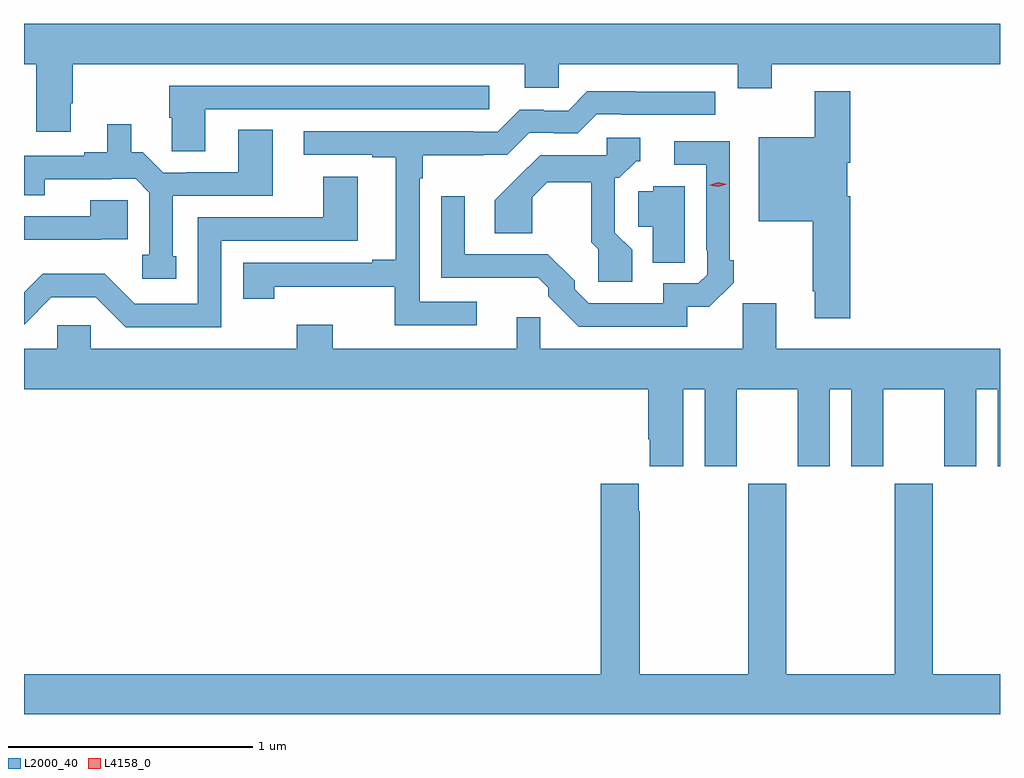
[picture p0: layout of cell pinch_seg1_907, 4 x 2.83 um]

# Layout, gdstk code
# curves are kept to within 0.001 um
import gdstk
lib = gdstk.Library(unit=1e-6, precision=1e-09)
def P(c, l, *ps):  # polygons
    for p in ps: c.add(gdstk.Polygon(p, *l))
L2000_40 = (2000, 40)
L4158_0 = (4158, 0)

pinch_seg1_907 = lib.new_cell('pinch_seg1_907')
P(pinch_seg1_907, L2000_40, [(231.565,527.596),(231.573,527.596),(231.573,527.756),(233.426,527.756),(233.426,527.658),(233.565,527.658),(233.565,527.756),(234.299,527.756),(234.299,527.657),(234.439,527.657),(234.439,527.756),(235.374,527.756),(235.374,527.92),(231.374,527.92),(231.374,527.756),(231.425,527.756),(231.425,527.478),(231.565,527.478)],
  [(232.117,527.571),(233.281,527.571),(233.281,527.667),(231.97,527.667),(231.97,527.535),(231.979,527.535),(231.979,527.398),(232.117,527.398)],
  [(234.761,527.215),(234.748,527.215),(234.748,527.351),(234.761,527.351),(234.761,527.644),(234.614,527.644),(234.614,527.455),(234.386,527.455),(234.386,527.111),(234.607,527.111),(234.607,526.825),(234.614,526.825),(234.614,526.713),(234.761,526.713)],
  [(233.23,526.782),(232.995,526.782),(232.995,527.288),(233.008,527.288),(233.008,527.382),(233.258,527.382),(233.258,527.385),(233.355,527.385),(233.445,527.475),(233.546,527.475),(233.546,527.472),(233.643,527.472),(233.721,527.55),(233.821,527.55),(233.821,527.547),(234.208,527.547),(234.208,527.643),(233.683,527.644),(233.604,527.565),(233.504,527.565),(233.504,527.568),(233.406,527.568),(233.316,527.478),(233.216,527.478),(233.216,527.481),(232.521,527.481),(232.521,527.385),(232.802,527.385),(232.802,527.373),(232.898,527.373),(232.898,526.954),(232.802,526.954),(232.802,526.941),(232.272,526.941),(232.272,526.794),(232.4,526.794),(232.4,526.844),(232.894,526.844),(232.894,526.686),(233.23,526.686)],
  [(231.997,526.968),(231.984,526.968),(231.984,527.217),(232.393,527.217),(232.393,527.486),(232.253,527.486),(232.253,527.313),(232.039,527.313),(232.039,527.31),(231.945,527.31),(231.861,527.394),(231.814,527.394),(231.814,527.509),(231.716,527.509),(231.716,527.394),(231.62,527.394),(231.62,527.379),(231.374,527.379),(231.374,527.218),(231.459,527.218),(231.459,527.283),(231.731,527.283),(231.731,527.286),(231.831,527.286),(231.888,527.229),(231.888,526.974),(231.858,526.974),(231.858,526.875),(231.997,526.875)],
  [(233.866,526.994),(233.796,527.064),(233.796,527.289),(233.814,527.289),(233.883,527.358),(233.899,527.358),(233.899,527.454),(233.763,527.454),(233.763,527.382),(233.489,527.382),(233.392,527.285),(233.391,527.286),(233.304,527.198),(233.304,527.062),(233.458,527.062),(233.458,527.21),(233.519,527.271),(233.698,527.271),(233.698,527.026),(233.727,526.997),(233.727,526.863),(233.866,526.863)],
  [(234.093,526.761),(234.182,526.761),(234.282,526.86),(234.282,526.951),(234.267,526.951),(234.267,527.439),(234.039,527.439),(234.039,527.343),(234.171,527.343),(234.171,526.993),(234.174,526.993),(234.174,526.893),(234.138,526.857),(233.994,526.857),(233.994,526.776),(233.688,526.776),(233.631,526.833),(233.631,526.867),(233.521,526.977),(233.181,526.977),(233.181,527.215),(233.085,527.215),(233.085,526.881),(233.482,526.88),(233.523,526.84),(233.523,526.805),(233.648,526.68),(234.093,526.68)],
  [(232.182,527.031),(232.741,527.031),(232.741,527.293),(232.601,527.293),(232.601,527.127),(232.086,527.127),(232.086,526.773),(231.828,526.773),(231.704,526.897),(231.45,526.897),(231.374,526.821),(231.374,526.688),(231.486,526.8),(231.669,526.8),(231.792,526.677),(232.182,526.677)],
  [(234.081,527.254),(233.952,527.254),(233.952,527.235),(233.892,527.235),(233.892,527.09),(233.951,527.09),(233.951,526.942),(234.081,526.942)],
  [(231.689,527.037),(231.799,527.037),(231.799,527.198),(231.646,527.198),(231.646,527.133),(231.374,527.133),(231.374,527.036),(231.689,527.036)],
  [(234.076,526.424),(234.164,526.424),(234.164,526.107),(234.295,526.107),(234.295,526.424),(234.545,526.424),(234.545,526.107),(234.676,526.107),(234.676,526.424),(234.764,526.424),(234.764,526.107),(234.895,526.107),(234.895,526.424),(235.145,526.424),(235.145,526.107),(235.276,526.107),(235.276,526.424),(235.364,526.424),(235.364,526.107),(235.374,526.107),(235.374,526.588),(234.457,526.588),(234.457,526.776),(234.319,526.776),(234.319,526.588),(233.489,526.588),(233.489,526.718),(233.393,526.718),(233.393,526.588),(232.639,526.588),(232.639,526.687),(232.492,526.687),(232.492,526.588),(231.648,526.588),(231.648,526.686),(231.51,526.686),(231.51,526.588),(231.374,526.588),(231.374,526.424),(233.933,526.424),(233.933,526.219),(233.939,526.219),(233.939,526.107),(234.076,526.107)],
  [(235.374,525.256),(235.098,525.256),(235.098,526.036),(234.943,526.036),(234.943,525.256),(234.498,525.256),(234.498,526.036),(234.343,526.036),(234.343,525.256),(233.898,525.256),(233.898,525.923),(233.893,525.923),(233.893,526.036),(233.738,526.036),(233.738,525.256),(231.374,525.256),(231.374,525.092),(235.374,525.092)])
P(pinch_seg1_907, L4158_0, [(234.22,527.252),(234.183,527.26),(234.183,527.26),(234.183,527.26),(234.219,527.272),(234.255,527.263),(234.255,527.263),(234.255,527.263)])

lib.write_gds('pinch_seg1_907.gds')
